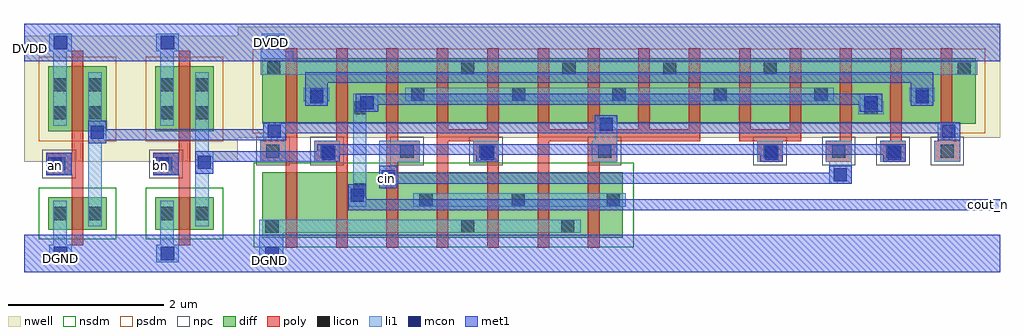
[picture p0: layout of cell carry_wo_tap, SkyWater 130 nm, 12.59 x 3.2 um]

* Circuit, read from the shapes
.subckt carry_wo_tap DGND DVDD an bn cin cout_n
XM1 n1 an DGND VSUBS sky130_fd_pr__nfet_01v8 w=0.42 l=0.15
XM2 n2 bn DGND VSUBS sky130_fd_pr__nfet_01v8 w=0.42 l=0.15
XM3 n3 n1 DGND VSUBS sky130_fd_pr__nfet_01v8 w=0.84 l=0.15
XM4 cout_n n2 n3 VSUBS sky130_fd_pr__nfet_01v8 w=0.84 l=0.15
XM5 n4 cin cout_n VSUBS sky130_fd_pr__nfet_01v8 w=0.84 l=0.15
XM6 DGND n2 n4 VSUBS sky130_fd_pr__nfet_01v8 w=0.84 l=0.15 m=2
XM7 DGND n1 n4 VSUBS sky130_fd_pr__nfet_01v8 w=0.84 l=0.15 m=2
XM8 n1 an DVDD n5 sky130_fd_pr__pfet_01v8 w=0.84 l=0.15
XM9 n2 bn DVDD n5 sky130_fd_pr__pfet_01v8 w=0.84 l=0.15
XM10 n6 n1 DVDD n5 sky130_fd_pr__pfet_01v8 w=0.84 l=0.15 m=2
XM11 cout_n n2 n6 n5 sky130_fd_pr__pfet_01v8 w=0.84 l=0.15 m=2
XM12 n7 cin cout_n n5 sky130_fd_pr__pfet_01v8 w=0.84 l=0.15 m=2
XM13 DVDD n2 n7 n5 sky130_fd_pr__pfet_01v8 w=0.84 l=0.15 m=4
XM14 DVDD n1 n7 n5 sky130_fd_pr__pfet_01v8 w=0.84 l=0.15 m=4
.ends

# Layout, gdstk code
from math import pi, radians
import gdstk
lib = gdstk.Library(unit=1e-6, precision=1e-09)
def R(c, l, rs):  # rectangles x0, y0, x1, y1
    for r in rs: c.add(gdstk.rectangle(r[:2], r[2:], *l))
def A(c, l, x, y, w, h, nx, ny, dx, dy):  # array of equal rectangles
    R(c, l, [(x+i*dx, y+j*dy, x+i*dx+w, y+j*dy+h) for i in range(nx) for j in range(ny)])
def P(c, l, *ps):  # polygons
    for p in ps: c.add(gdstk.Polygon(p, *l))
nwell = (64, 20)
diff = (65, 20)
poly = (66, 20)
licon = (66, 44)
li1 = (67, 20)
mcon = (67, 44)
met1 = (68, 20)
nsdm = (93, 44)
psdm = (94, 20)
npc = (95, 20)

nfet = lib.new_cell('nfet')

pfet = lib.new_cell('pfet')
R(pfet, nwell, [(-0.315,-0.08,9.515,1.35)])
R(pfet, diff, [(0,0.1,9.2,0.94)])
A(pfet, poly, 0.3, -0.17, 0.15, 1.24, 7, 1, 0.65, 0)
A(pfet, poly, 4.85, -0.125, 0.15, 1.195, 6, 1, 0.65, 0)
P(pfet, poly, [(8.75,-0.125),(8.75,1.07),(8.9,1.07),(8.9,-0.125),(8.835,-0.125)])
R(pfet, psdm, [(-0.125,-0.025,9.325,1.065)])

nfet_3 = lib.new_cell('nfet$3')
R(nfet_3, diff, [(0,0.08,4.65,0.92)])
A(nfet_3, poly, 0.3, -0.05, 0.15, 1.17, 7, 1, 0.65, 0)
R(nfet_3, nsdm, [(-0.11,-0.045,4.79,1.045)])

vias_gen_1 = lib.new_cell('vias_gen$1')
R(vias_gen_1, poly, [(0,0,0.33,0.27)])
R(vias_gen_1, licon, [(0.08,0.05,0.25,0.22)])
R(vias_gen_1, li1, [(0,0,0.33,0.27)])
R(vias_gen_1, npc, [(-0.05,-0.05,0.38,0.32)])

vias_gen_3 = lib.new_cell('vias_gen$3')
R(vias_gen_3, li1, [(0,0,0.29,0.23)])
R(vias_gen_3, mcon, [(0.06,0.03,0.23,0.2)])
R(vias_gen_3, met1, [(0,0,0.29,0.23)])

vias_gen_2 = lib.new_cell('vias_gen$2')

pfet_1 = lib.new_cell('pfet$1')
R(pfet_1, nwell, [(-0.31,-0.39,1.07,1.23)])
R(pfet_1, diff, [(0.005,0,0.755,0.84)])
R(pfet_1, poly, [(0.305,-0.2,0.455,1.04)])
R(pfet_1, licon, [(0.07,0.155,0.24,0.325), (0.52,0.155,0.69,0.325), (0.07,0.515,0.24,0.685), (0.52,0.515,0.69,0.685)])
R(pfet_1, li1, [(0.07,0.075,0.24,0.765), (0.52,0.075,0.69,0.765)])
R(pfet_1, psdm, [(-0.12,-0.125,0.88,0.965)])

nfet_1 = lib.new_cell('nfet$1')
R(nfet_1, diff, [(0.005,0,0.755,0.42)])
R(nfet_1, poly, [(0.305,-0.2,0.455,0.62)])
R(nfet_1, licon, [(0.07,0.125,0.24,0.295), (0.52,0.125,0.69,0.295)])
R(nfet_1, li1, [(0.07,0.045,0.24,0.375), (0.52,0.045,0.69,0.375)])
R(nfet_1, nsdm, [(-0.12,-0.125,0.88,0.545)])

vias_gen_2_1 = lib.new_cell('vias_gen$2$1')
R(vias_gen_2_1, poly, [(0.005,0,0.335,0.27)])
R(vias_gen_2_1, licon, [(0.085,0.05,0.255,0.22)])
R(vias_gen_2_1, li1, [(0.005,0,0.335,0.27)])
R(vias_gen_2_1, npc, [(-0.045,-0.05,0.385,0.32)])

vias_gen_3_1 = lib.new_cell('vias_gen$3$1')
R(vias_gen_3_1, li1, [(0.01,0,0.3,0.23)])
R(vias_gen_3_1, mcon, [(0.07,0.03,0.24,0.2)])
R(vias_gen_3_1, met1, [(0.01,0,0.3,0.23)])

invx1_wo_tap = lib.new_cell('invx1_wo_tap')
R(invx1_wo_tap, met1, [(-0.475,-1.075,0.905,-0.595), (-0.475,1.645,0.905,2.125)])
invx1_wo_tap.add(gdstk.FlexPath([(0.44,0.815),(0.44,-0.155)], 0.17, ends="flush", simple_path=True, layer=67, datatype=20))  # li1
invx1_wo_tap.add(gdstk.FlexPath([(-0.01,-0.485),(-0.01,-0.72)], 0.17, ends="flush", simple_path=True, layer=67, datatype=20))  # li1
invx1_wo_tap.add(gdstk.FlexPath([(-0.01,1.505),(-0.01,1.77)], 0.17, ends="flush", simple_path=True, layer=67, datatype=20))  # li1
invx1_wo_tap.add(gdstk.FlexPath([(0.215,0.09),(0.215,0.54)], 0.15, ends="flush", simple_path=True, layer=66, datatype=20))  # poly
invx1_wo_tap.add(gdstk.Reference(pfet_1, (-0.165,0.74)))
invx1_wo_tap.add(gdstk.Reference(nfet_1, (-0.165,-0.53)))
invx1_wo_tap.add(gdstk.Reference(vias_gen_2_1, (-0.195,0.185)))
invx1_wo_tap.add(gdstk.Reference(vias_gen_3_1, (-0.16,-0.95)))
invx1_wo_tap.add(gdstk.Reference(vias_gen_3_1, (-0.16,1.77)))
invx1_wo_tap.add(gdstk.Label('DVDD', (-0.395,1.805), layer=68, texttype=5))
invx1_wo_tap.add(gdstk.Label('DGND', (-0.01,-0.895), layer=68, texttype=5))

vias_gen_5 = lib.new_cell('vias_gen$5')
R(vias_gen_5, li1, [(0,0,0.29,0.23)])
R(vias_gen_5, mcon, [(0.06,0.03,0.23,0.2)])
R(vias_gen_5, met1, [(0,0,0.29,0.23)])

carry_wo_tap = lib.new_cell('carry_wo_tap')
R(carry_wo_tap, nwell, [(-4.42,0.845,-3.04,2.465)])
R(carry_wo_tap, diff, [(-4.105,-0.035,-3.355,0.385), (-4.105,1.235,-3.355,2.075)])
A(carry_wo_tap, poly, -1.045, 0.905, 0.15, 0.16, 7, 1, 0.65, 0)
R(carry_wo_tap, poly, [(-3.805,-0.235,-3.655,0.585), (-4.135,0.68,-3.805,0.95), (-3.805,1.035,-3.655,2.275)])
R(carry_wo_tap, licon, [(-1.305,-0.075,-1.135,0.095), (1.22,-0.075,1.39,0.095), (2.51,-0.075,2.68,0.095), (-4.04,0.09,-3.87,0.26), (-3.59,0.09,-3.42,0.26), (0.68,0.265,0.85,0.435), (1.87,0.265,2.04,0.435), (3.095,0.265,3.265,0.435), (-0.175,0.395,-0.005,0.565), (-4.055,0.73,-3.885,0.9), (-4.04,1.39,-3.87,1.56), (-3.59,1.39,-3.42,1.56), (-0.175,1.455,-0.005,1.625), (6.42,1.455,6.59,1.625), (-0.73,1.625,-0.56,1.795), (0.575,1.625,0.745,1.795), (1.875,1.625,2.045,1.795), (3.17,1.625,3.34,1.795), (4.475,1.625,4.645,1.795), (5.775,1.625,5.945,1.795), (7.08,1.625,7.25,1.795), (-4.04,1.75,-3.87,1.92), (-3.59,1.75,-3.42,1.92), (-1.285,1.965,-1.115,2.135), (1.22,1.965,1.39,2.135), (2.525,1.965,2.695,2.135), (3.825,1.965,3.995,2.135), (5.12,1.965,5.29,2.135), (7.625,1.965,7.795,2.135)])
R(carry_wo_tap, li1, [(-4.095,-0.455,-3.805,-0.225), (-1.385,-0.455,-1.075,-0.075), (-4.04,0.01,-3.87,0.34), (-3.59,0.01,-3.42,0.34), (0.165,0.5,0.395,1.115), (-4.135,0.68,-3.805,0.95), (5.965,0.79,6.255,0.845), (-1.335,1.115,-1.045,1.12), (2.945,1.115,3.235,1.21), (7.365,1.115,7.655,1.12), (-4.04,1.31,-3.87,2), (-3.59,1.31,-3.42,2), (6.34,1.455,6.67,1.625), (-0.81,1.625,-0.48,1.795), (7,1.625,7.33,1.795), (-1.365,2.135,-0.945,2.265), (-4.095,2.265,-3.805,2.495)])
R(carry_wo_tap, mcon, [(-4.035,-0.425,-3.865,-0.255), (-4.035,2.295,-3.865,2.465)])
R(carry_wo_tap, met1, [(-4.42,-0.58,-3.04,-0.1), (-1.66,-0.58,8.17,-0.1), (-4.095,-0.455,-3.805,-0.225), (-3.905,0.67,-3.805,0.96), (-2.525,0.67,-2.425,0.96), (-0.79,1.795,-0.5,1.86), (7.02,1.795,7.31,1.86), (-4.42,2.14,-3.04,2.62), (-1.66,2.14,8.17,2.62), (-4.095,2.265,-3.805,2.495)])
R(carry_wo_tap, nsdm, [(-4.23,-0.16,-3.23,0.51)])
R(carry_wo_tap, psdm, [(-4.23,1.11,-3.23,2.2)])
R(carry_wo_tap, npc, [(-4.185,0.63,-3.755,1)])
carry_wo_tap.add(gdstk.FlexPath([(-3.505,1.31),(-3.505,0.34)], 0.17, ends="flush", simple_path=True, layer=67, datatype=20))  # li1
carry_wo_tap.add(gdstk.FlexPath([(-3.955,0.01),(-3.955,-0.225)], 0.17, ends="flush", simple_path=True, layer=67, datatype=20))  # li1
carry_wo_tap.add(gdstk.FlexPath([(-3.955,2),(-3.955,2.265)], 0.17, ends="flush", simple_path=True, layer=67, datatype=20))  # li1
carry_wo_tap.add(gdstk.FlexPath([(-1.365,2.05),(7.875,2.05)], 0.17, ends="flush", simple_path=True, layer=67, datatype=20))  # li1
carry_wo_tap.add(gdstk.FlexPath([(0.495,1.71),(6.025,1.71)], 0.17, ends="flush", simple_path=True, layer=67, datatype=20))  # li1
carry_wo_tap.add(gdstk.FlexPath([(3.345,0.35),(0.6,0.35)], 0.17, ends="flush", simple_path=True, layer=67, datatype=20))  # li1
carry_wo_tap.add(gdstk.FlexPath([(2.76,0.01),(-1.385,0.01)], 0.17, ends="flush", simple_path=True, layer=67, datatype=20))  # li1
carry_wo_tap.add(gdstk.FlexPath([(-0.09,1.72),(-0.09,0.315)], 0.17, ends="flush", simple_path=True, layer=67, datatype=20))  # li1
carry_wo_tap.add(gdstk.FlexPath([(-1.22,-0.255),(-1.22,-0.075)], 0.17, ends="flush", simple_path=True, layer=67, datatype=20))  # li1
carry_wo_tap.add(gdstk.FlexPath([(-1.335,1.19),(-3.36,1.19)], 0.14, ends="flush", simple_path=True, layer=68, datatype=20))  # met1
carry_wo_tap.add(gdstk.FlexPath([(-0.635,0.91),(-1.98,0.91)], 0.14, ends="flush", simple_path=True, layer=68, datatype=20))  # met1
carry_wo_tap.add(gdstk.FlexPath([(-0.79,1.93),(7.31,1.93)], 0.14, ends="flush", simple_path=True, layer=68, datatype=20))  # met1
carry_wo_tap.add(gdstk.FlexPath([(0.15,1.65),(6.36,1.65)], 0.14, ends="flush", simple_path=True, layer=68, datatype=20))  # met1
carry_wo_tap.add(gdstk.FlexPath([(-1.045,1.28),(7.365,1.28)], 0.14, ends="flush", simple_path=True, layer=68, datatype=20))  # met1
carry_wo_tap.add(gdstk.FlexPath([(-0.345,1),(6.665,1)], 0.14, ends="flush", simple_path=True, layer=68, datatype=20))  # met1
carry_wo_tap.add(gdstk.FlexPath([(0.38,0.63),(5.965,0.63)], 0.14, ends="flush", simple_path=True, layer=68, datatype=20))  # met1
carry_wo_tap.add(gdstk.FlexPath([(-0.235,0.29),(8.17,0.29)], 0.14, ends="flush", simple_path=True, layer=68, datatype=20))  # met1
carry_wo_tap.add(gdstk.FlexPath([(-3.73,0.585),(-3.73,1.035)], 0.15, ends="flush", simple_path=True, layer=66, datatype=20))  # poly
carry_wo_tap.add(gdstk.FlexPath([(4.805,1.185),(5.605,1.185)], 0.15, ends="flush", simple_path=True, layer=66, datatype=20))  # poly
carry_wo_tap.add(gdstk.FlexPath([(2.205,1.185),(4.305,1.185)], 0.15, ends="flush", simple_path=True, layer=66, datatype=20))  # poly
carry_wo_tap.add(gdstk.FlexPath([(0.905,1.185),(1.705,1.185)], 0.15, ends="flush", simple_path=True, layer=66, datatype=20))  # poly
carry_wo_tap.add(gdstk.Reference(nfet, (-1.345,-0.035)))
carry_wo_tap.add(gdstk.Reference(pfet, (-1.345,1.235)))
carry_wo_tap.add(gdstk.Reference(nfet_3, (-1.345,-0.215)))
carry_wo_tap.add(gdstk.Reference(vias_gen_1, (1.375,0.845)))
carry_wo_tap.add(gdstk.Reference(vias_gen_3, (-0.79,1.565)))
carry_wo_tap.add(gdstk.Reference(vias_gen_3, (-0.14,1.49)))
carry_wo_tap.add(gdstk.Reference(vias_gen_3, (6.36,1.49)))
carry_wo_tap.add(gdstk.Reference(vias_gen_3, (7.02,1.565)))
carry_wo_tap.add(gdstk.Reference(vias_gen_1, (-1.375,0.845)))
carry_wo_tap.add(gdstk.Reference(vias_gen_1, (-0.675,0.845)))
carry_wo_tap.add(gdstk.Reference(vias_gen_1, (0.355,0.845)))
carry_wo_tap.add(gdstk.Reference(vias_gen_1, (2.905,0.845)))
carry_wo_tap.add(gdstk.Reference(vias_gen_1, (5.04,0.845)))
carry_wo_tap.add(gdstk.Reference(vias_gen_1, (5.925,0.845)))
carry_wo_tap.add(gdstk.Reference(vias_gen_1, (6.625,0.845)))
carry_wo_tap.add(gdstk.Reference(vias_gen_1, (7.325,0.845)))
carry_wo_tap.add(gdstk.Reference(vias_gen_3, (-1.35,2.265)))
carry_wo_tap.add(gdstk.Reference(vias_gen_3, (-1.335,1.12)))
carry_wo_tap.add(gdstk.Reference(vias_gen_3, (2.945,1.21)))
carry_wo_tap.add(gdstk.Reference(vias_gen_2, (0.395,0.605)))
carry_wo_tap.add(gdstk.Reference(vias_gen_3, (7.365,1.12)))
carry_wo_tap.add(gdstk.Reference(vias_gen_3, (-0.635,0.84)))
carry_wo_tap.add(gdstk.Reference(vias_gen_3, (1.415,0.84)))
carry_wo_tap.add(gdstk.Reference(vias_gen_3, (5.08,0.84)))
carry_wo_tap.add(gdstk.Reference(vias_gen_3, (6.665,0.84)))
carry_wo_tap.add(gdstk.Reference(vias_gen_3, (5.965,0.56)))
carry_wo_tap.add(gdstk.Reference(vias_gen_3, (0.395,0.5), rotation=pi/2))
carry_wo_tap.add(gdstk.Reference(vias_gen_3, (-0.005,0.265), rotation=pi/2))
carry_wo_tap.add(gdstk.Reference(vias_gen_3, (-1.365,-0.455)))
carry_wo_tap.add(gdstk.Reference(invx1_wo_tap, (-2.565,0.495)))
carry_wo_tap.add(gdstk.Reference(vias_gen_5, (-3.36,1.08), rotation=pi/2))
carry_wo_tap.add(gdstk.Reference(vias_gen_5, (-1.98,0.69), rotation=pi/2))
carry_wo_tap.add(gdstk.Reference(vias_gen_5, (-3.905,0.67), rotation=pi/2))
carry_wo_tap.add(gdstk.Reference(vias_gen_5, (-2.525,0.67), rotation=pi/2))
carry_wo_tap.add(gdstk.Label('an', (-4.02,0.8), layer=68, texttype=5))
carry_wo_tap.add(gdstk.Label('bn', (-2.665,0.79), layer=68, texttype=5))
carry_wo_tap.add(gdstk.Label('DVDD', (-4.34,2.3), layer=68, texttype=5))
carry_wo_tap.add(gdstk.Label('DGND', (-3.955,-0.4), layer=68, texttype=5))
carry_wo_tap.add(gdstk.Label('cin', (0.255,0.63), layer=68, texttype=5))
carry_wo_tap.add(gdstk.Label('DVDD', (-1.23,2.38), layer=68, texttype=5))
carry_wo_tap.add(gdstk.Label('DGND', (-1.255,-0.425), layer=68, texttype=5))
carry_wo_tap.add(gdstk.Label('cout_n', (8.025,0.29), layer=68, texttype=5))

lib.write_gds('carry_wo_tap.gds')
